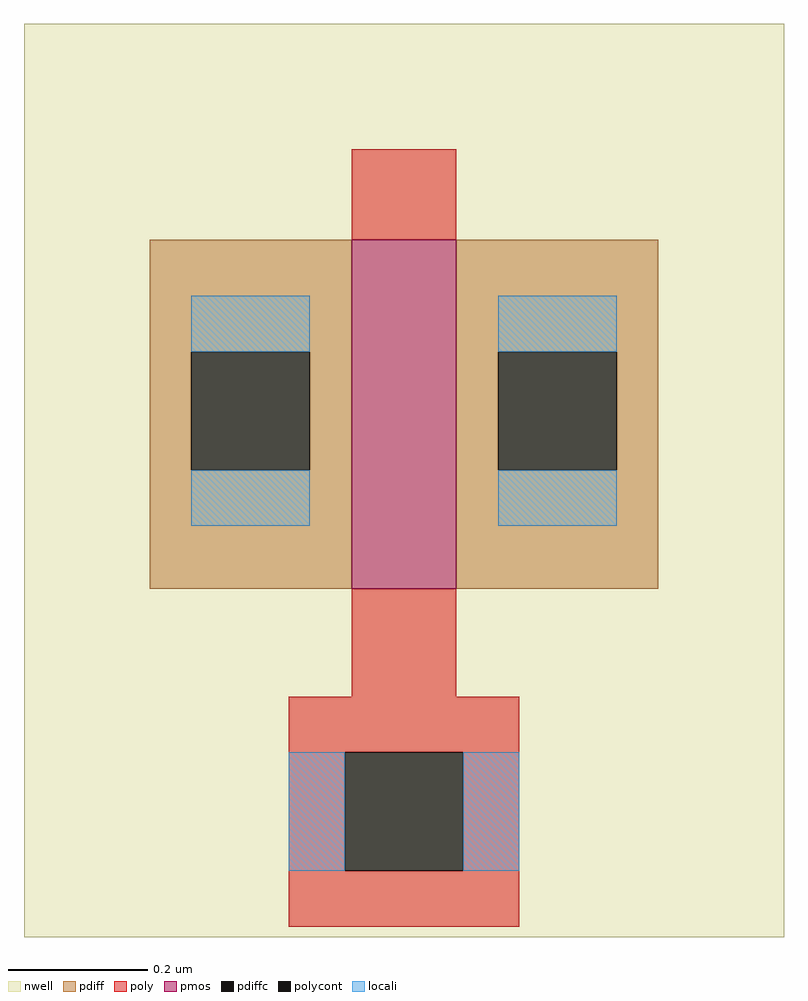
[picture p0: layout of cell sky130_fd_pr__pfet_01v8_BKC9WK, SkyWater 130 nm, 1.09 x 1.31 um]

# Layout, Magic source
magic
tech sky130A
magscale 1 2
<< nwell >>
rect -109 -114 109 148
<< pmos >>
rect -15 -14 15 86
<< pdiff >>
rect -73 54 -15 86
rect -73 20 -61 54
rect -27 20 -15 54
rect -73 -14 -15 20
rect 15 54 73 86
rect 15 20 27 54
rect 61 20 73 54
rect 15 -14 73 20
<< pdiffc >>
rect -61 20 -27 54
rect 27 20 61 54
<< poly >>
rect -15 86 15 112
rect -15 -45 15 -14
rect -33 -61 33 -45
rect -33 -95 -17 -61
rect 17 -95 33 -61
rect -33 -111 33 -95
<< polycont >>
rect -17 -95 17 -61
<< locali >>
rect -61 54 -27 70
rect -61 4 -27 20
rect 27 54 61 70
rect 27 4 61 20
rect -33 -95 -17 -61
rect 17 -95 33 -61
<< properties >>
string gencell sky130_fd_pr__pfet_01v8
string parameters w 0.5 l 0.15 m 1 nf 1 diffcov 100 polycov 100 guard 0 glc 0 grc 0 gtc 0 gbc 0 tbcov 100 rlcov 100 topc 0 botc 1 poverlap 0 doverlap 1 lmin 0.15 wmin 0.42 compatible {sky130_fd_pr__pfet_01v8  sky130_fd_pr__pfet_01v8_lvt sky130_fd_pr__pfet_01v8_hvt  sky130_fd_pr__pfet_g5v0d10v5} full_metal 0 viasrc 40 viadrn -40 viagate 100 viagb 0 viagr 0 viagl 0 viagt 80
string library sky130
<< end >>
